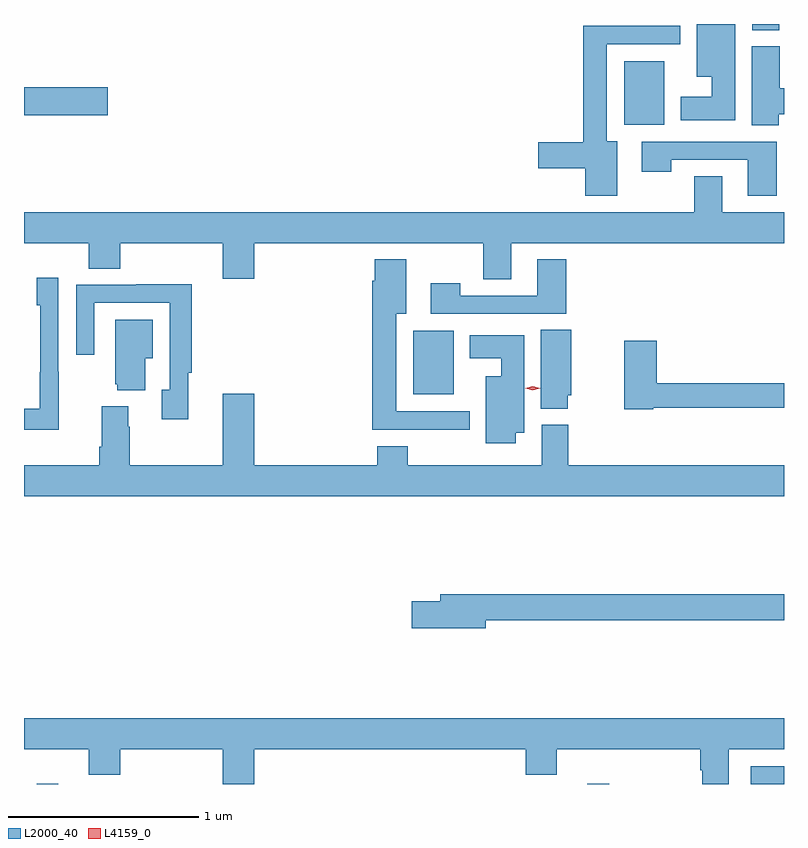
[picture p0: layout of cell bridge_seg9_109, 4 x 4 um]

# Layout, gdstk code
import gdstk
lib = gdstk.Library(unit=1e-6, precision=1e-09)
def R(c, l, rs):  # rectangles x0, y0, x1, y1
    for r in rs: c.add(gdstk.rectangle(r[:2], r[2:], *l))
def P(c, l, *ps):  # polygons
    for p in ps: c.add(gdstk.Polygon(p, *l))
L2000_40 = (2000, 40)
L4159_0 = (4159, 0)

bridge_seg9_109 = lib.new_cell('bridge_seg9_109')
R(bridge_seg9_109, L2000_40, [(811.379,1189.578,811.494,1189.579), (814.278,1189.578,814.393,1189.579), (815.139,1189.578,815.313,1189.671), (813.362,1191.629,813.574,1191.964), (814.472,1193.048,814.684,1193.383), (811.313,1193.099,811.753,1193.246), (815.147,1193.545,815.288,1193.578)])
P(bridge_seg9_109, L2000_40, [(815.056,1193.578),(814.853,1193.578),(814.853,1193.3),(814.934,1193.3),(814.934,1193.194),(814.769,1193.194),(814.769,1193.072),(815.056,1193.072)],
  [(814.435,1192.96),(814.381,1192.96),(814.381,1193.472),(814.768,1193.472),(814.768,1193.57),(814.256,1193.57),(814.256,1192.955),(814.02,1192.955),(814.02,1192.82),(814.268,1192.82),(814.268,1192.674),(814.435,1192.674)],
  [(815.286,1193.104),(815.313,1193.104),(815.313,1193.24),(815.291,1193.24),(815.291,1193.46),(815.144,1193.46),(815.144,1193.044),(815.286,1193.044)],
  [(815.276,1192.959),(814.563,1192.959),(814.563,1192.8),(814.719,1192.8),(814.719,1192.863),(815.123,1192.863),(815.123,1192.674),(815.276,1192.674)],
  [(813.877,1192.424),(815.313,1192.424),(815.313,1192.588),(814.987,1192.588),(814.987,1192.778),(814.84,1192.778),(814.84,1192.588),(811.313,1192.588),(811.313,1192.424),(811.655,1192.424),(811.655,1192.291),(811.82,1192.291),(811.82,1192.424),(812.36,1192.424),(812.36,1192.236),(812.524,1192.236),(812.524,1192.424),(813.73,1192.424),(813.73,1192.234),(813.877,1192.234)],
  [(813.658,1191.54),(813.271,1191.54),(813.271,1192.052),(813.325,1192.052),(813.325,1192.339),(813.158,1192.339),(813.158,1192.226),(813.146,1192.226),(813.146,1191.443),(813.658,1191.443)],
  [(814.166,1192.339),(814.013,1192.339),(814.013,1192.149),(813.609,1192.149),(813.609,1192.213),(813.453,1192.213),(813.453,1192.053),(814.166,1192.053)],
  [(811.497,1191.749),(811.494,1191.749),(811.494,1192.243),(811.379,1192.243),(811.379,1192.098),(811.398,1192.098),(811.398,1191.746),(811.397,1191.746),(811.397,1191.553),(811.313,1191.553),(811.313,1191.443),(811.497,1191.443)],
  [(812.177,1191.742),(812.195,1191.742),(812.195,1192.208),(811.903,1192.208),(811.903,1192.206),(811.587,1192.206),(811.587,1191.837),(811.683,1191.837),(811.683,1192.11),(812.079,1192.11),(812.079,1191.654),(812.039,1191.654),(812.039,1191.498),(812.177,1191.498)],
  [(811.951,1191.818),(811.99,1191.818),(811.99,1192.021),(811.793,1192.021),(811.793,1191.681),(811.805,1191.681),(811.805,1191.65),(811.951,1191.65)],
  [(814.176,1191.624),(814.192,1191.624),(814.192,1191.968),(814.034,1191.968),(814.034,1191.553),(814.176,1191.553)],
  [(813.901,1191.428),(813.946,1191.428),(813.946,1191.94),(813.659,1191.94),(813.659,1191.818),(813.824,1191.818),(813.824,1191.724),(813.743,1191.724),(813.743,1191.372),(813.901,1191.372)],
  [(814.626,1191.558),(815.313,1191.558),(815.313,1191.686),(814.643,1191.686),(814.643,1191.91),(814.472,1191.91),(814.472,1191.55),(814.626,1191.55)],
  [(815.313,1191.256),(814.178,1191.256),(814.178,1191.468),(814.037,1191.468),(814.037,1191.256),(813.333,1191.256),(813.333,1191.355),(813.173,1191.355),(813.173,1191.256),(812.524,1191.256),(812.524,1191.631),(812.36,1191.631),(812.36,1191.256),(811.869,1191.256),(811.869,1191.458),(811.861,1191.458),(811.861,1191.565),(811.721,1191.565),(811.721,1191.352),(811.709,1191.352),(811.709,1191.256),(811.313,1191.256),(811.313,1191.092),(815.313,1191.092)],
  [(813.742,1190.44),(815.313,1190.44),(815.313,1190.576),(813.503,1190.576),(813.503,1190.54),(813.354,1190.54),(813.354,1190.398),(813.742,1190.398)],
  [(811.313,1189.76),(811.655,1189.76),(811.655,1189.627),(811.82,1189.627),(811.82,1189.76),(812.36,1189.76),(812.36,1189.578),(812.524,1189.578),(812.524,1189.76),(813.953,1189.76),(813.953,1189.627),(814.118,1189.627),(814.118,1189.76),(814.871,1189.76),(814.871,1189.651),(814.884,1189.651),(814.884,1189.578),(815.023,1189.578),(815.023,1189.76),(815.313,1189.76),(815.313,1189.924),(811.313,1189.924)])
P(bridge_seg9_109, L4159_0, [(813.99,1191.651),(813.95,1191.66),(813.95,1191.661),(813.95,1191.661),(813.99,1191.671),(814.03,1191.661),(814.031,1191.661),(814.03,1191.661)])

lib.write_gds('bridge_seg9_109.gds')
